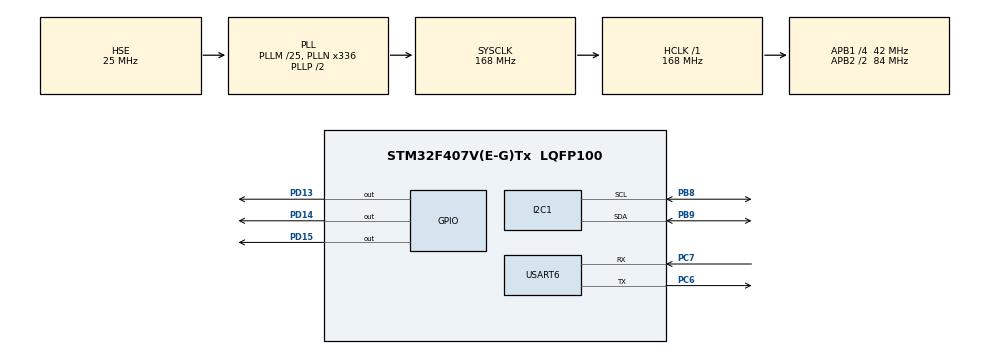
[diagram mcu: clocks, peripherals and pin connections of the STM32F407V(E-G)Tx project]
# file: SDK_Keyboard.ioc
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FREERTOS.BinarySemaphores01=myBinarySem01,Dynamic,NULL
FREERTOS.Mutexes01=myMutex01,Dynamic,NULL
FREERTOS.Queues01=myQueue01,16,uint16_t,0,Dynamic,NULL,NULL
FREERTOS.Tasks01=defaultTask,0,128,StartDefaultTask,Default,NULL,Dynamic,NULL,NULL;keyboardTask,-3,128,StartTask02,Default,NULL,Dynamic,NULL,NULL
Mcu.Family=STM32F4
Mcu.Name=STM32F407V(E-G)Tx
Mcu.Package=LQFP100
NVIC.PriorityGroup=NVIC_PRIORITYGROUP_4
PA13.Mode=JTAG_5_pins
PA13.Signal=SYS_JTMS-SWDIO
PA14.Mode=JTAG_5_pins
PA14.Signal=SYS_JTCK-SWCLK
PA15.Mode=JTAG_5_pins
PA15.Signal=SYS_JTDI
PB3.Mode=JTAG_5_pins
PB3.Signal=SYS_JTDO-SWO
PB4.Mode=JTAG_5_pins
PB4.Signal=SYS_JTRST
PB8.GPIO_Pu=GPIO_PULLUP
PB8.Mode=I2C
PB8.Signal=I2C1_SCL
PB9.GPIO_Pu=GPIO_PULLUP
PB9.Mode=I2C
PB9.Signal=I2C1_SDA
PC6.Mode=Asynchronous
PC6.Signal=USART6_TX
PC7.Mode=Asynchronous
PC7.Signal=USART6_RX
PD13.Signal=GPIO_Output
PD14.Signal=GPIO_Output
PD15.Signal=GPIO_Output
PH0-OSC_IN.Mode=HSE-External-Oscillator
PH0-OSC_IN.Signal=RCC_OSC_IN
PH1-OSC_OUT.Mode=HSE-External-Oscillator
PH1-OSC_OUT.Signal=RCC_OSC_OUT
ProjectManager.HeapSize=0x200
ProjectManager.StackSize=0x400
ProjectManager.TargetToolchain=STM32CubeIDE
RCC.48MHZClocksFreq_Value=84000000
RCC.AHBFreq_Value=168000000
RCC.APB1CLKDivider=RCC_HCLK_DIV4
RCC.APB1Freq_Value=42000000
RCC.APB1TimFreq_Value=84000000
RCC.APB2CLKDivider=RCC_HCLK_DIV2
RCC.APB2Freq_Value=84000000
RCC.APB2TimFreq_Value=168000000
RCC.CortexFreq_Value=168000000
RCC.HCLKFreq_Value=168000000
RCC.HSE_VALUE=25000000
RCC.HSI_VALUE=16000000
RCC.LSE_VALUE=32768
RCC.PLLM=25
RCC.PLLN=336
RCC.PLLSourceVirtual=RCC_PLLSOURCE_HSE
RCC.SYSCLKFreq_VALUE=168000000
RCC.SYSCLKSource=RCC_SYSCLKSOURCE_PLLCLK
RCC.VCOOutputFreq_Value=336000000
USART6.VirtualMode=VM_ASYNC
VP_FREERTOS_VS_CMSIS_V1.Mode=CMSIS_V1
board=custom

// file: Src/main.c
/* USER CODE BEGIN Header */
/**
  ******************************************************************************
  * @file           : main.c
  * @brief          : Main program body
  ******************************************************************************
  * @attention
  *
  * <h2><center>&copy; Copyright (c) 2019 STMicroelectronics.
  * All rights reserved.</center></h2>
  *
  * This software component is licensed by ST under BSD 3-Clause license,
  * the "License"; You may not use this file except in compliance with the
  * License. You may obtain a copy of the License at:
  *                        opensource.org/licenses/BSD-3-Clause
  *
  ******************************************************************************
  */
/* USER CODE END Header */
#include "main.h"
#include "cmsis_os.h"
#include "i2c.h"
#include "usart.h"
#include "gpio.h"

/* USER CODE BEGIN Includes */
#include "kb.h"
#include "sdk_uart.h"
#include "pca9538.h"
#include "oled.h"
#include "fonts.h"
#include "emb2calc.h"
#include "emb2kb.h"
//#include "emb2calc.h"
/* USER CODE END Includes */

void SystemClock_Config(void);
void MX_FREERTOS_Init(void);
/* USER CODE BEGIN PFP */
void KB_Test( void );
void OLED_KB( uint8_t OLED_Keys[]);
void oled_Reset( void );
/* USER CODE END PFP */

int main(void)
{

  /* MCU Configuration--------------------------------------------------------*/

  /* Reset of all peripherals, Initializes the Flash interface and the Systick. */
  HAL_Init();

  /* Configure the system clock */
  SystemClock_Config();

  /* Initialize all configured peripherals */
  MX_GPIO_Init();
  MX_I2C1_Init();
  MX_USART6_UART_Init();

  /* Call init function for freertos objects (in freertos.c) */
  MX_FREERTOS_Init();

  /* Start scheduler */
  osKernelStart();
  /* We should never get here as control is now taken by the scheduler */
  /* Infinite loop */
  while (1)
  {

    /* USER CODE BEGIN 3 */
	  printCalc();
	  char check = getKey();
	  keyPressed(check);
	  printCalc();
	  HAL_Delay(50);

  }
  /* USER CODE END 3 */
}

void SystemClock_Config(void)
{
  RCC_OscInitTypeDef RCC_OscInitStruct = {0};
  RCC_ClkInitTypeDef RCC_ClkInitStruct = {0};

  /** Configure the main internal regulator output voltage
  */
  __HAL_RCC_PWR_CLK_ENABLE();
  __HAL_PWR_VOLTAGESCALING_CONFIG(PWR_REGULATOR_VOLTAGE_SCALE1);

  /** Initializes the RCC Oscillators according to the specified parameters
  * in the RCC_OscInitTypeDef structure.
  */
  RCC_OscInitStruct.OscillatorType = RCC_OSCILLATORTYPE_HSE;
  RCC_OscInitStruct.HSEState = RCC_HSE_ON;
  RCC_OscInitStruct.PLL.PLLState = RCC_PLL_ON;
  RCC_OscInitStruct.PLL.PLLSource = RCC_PLLSOURCE_HSE;
  RCC_OscInitStruct.PLL.PLLM = 25;
  RCC_OscInitStruct.PLL.PLLN = 336;
  RCC_OscInitStruct.PLL.PLLP = RCC_PLLP_DIV2;
  RCC_OscInitStruct.PLL.PLLQ = 4;
  if (HAL_RCC_OscConfig(&RCC_OscInitStruct) != HAL_OK)
  {
    Error_Handler();
  }

  /** Initializes the CPU, AHB and APB buses clocks
  */
  RCC_ClkInitStruct.ClockType = RCC_CLOCKTYPE_HCLK|RCC_CLOCKTYPE_SYSCLK
                              |RCC_CLOCKTYPE_PCLK1|RCC_CLOCKTYPE_PCLK2;
  RCC_ClkInitStruct.SYSCLKSource = RCC_SYSCLKSOURCE_PLLCLK;
  RCC_ClkInitStruct.AHBCLKDivider = RCC_SYSCLK_DIV1;
  RCC_ClkInitStruct.APB1CLKDivider = RCC_HCLK_DIV4;
  RCC_ClkInitStruct.APB2CLKDivider = RCC_HCLK_DIV2;

  if (HAL_RCC_ClockConfig(&RCC_ClkInitStruct, FLASH_LATENCY_5) != HAL_OK)
  {
    Error_Handler();
  }
}

/* USER CODE BEGIN 4 */
void KB_Test( void ) {
	UART_Transmit( (uint8_t*)"KB test start\n" );
	uint8_t R = 0, C = 0, L = 0, Row[4] = {ROW4, ROW3, ROW2, ROW1}, Key, OldKey, OLED_Keys[12] = {0x30,0x30,0x30,0x30,0x30,0x30,0x30,0x30,0x30,0x30,0x30,0x30};
	oled_Reset();
	oled_WriteString("From bottom to top", Font_7x10, White);
	OLED_KB(OLED_Keys);
	oled_UpdateScreen();
	for ( int i = 0; i < 4; i++ ) {
		while( !( R && C && L ) ) {
			OldKey = Key;
			Key = Check_Row( Row[i] );
			if ( Key == 0x01 && Key != OldKey) {
				UART_Transmit( (uint8_t*)"Right pressed\n" );
				R = 1;
				OLED_Keys[2+3*i] = 0x31;
				OLED_KB(OLED_Keys);
			} else if ( Key == 0x02 && Key != OldKey) {
				UART_Transmit( (uint8_t*)"Center pressed\n" );
				C = 1;
				OLED_Keys[1+3*i] = 0x31;
				OLED_KB(OLED_Keys);
			} else if ( Key == 0x04 && Key != OldKey) {
				UART_Transmit( (uint8_t*)"Left pressed\n" );
				L = 1;
				OLED_Keys[3*i] = 0x31;
				OLED_KB(OLED_Keys);
			}
		}
		UART_Transmit( (uint8_t*)"Row complete\n" );
		R = C = L = 0;
		HAL_Delay(25);
	}
	UART_Transmit( (uint8_t*)"KB test complete\n");
}
void OLED_KB( uint8_t OLED_Keys[12]) {
	for (int i = 3; i >= 0; i--) {
		oled_SetCursor(56, 5+(4-i)*10);
		for (int j = 0; j < 3; j++) {
			oled_WriteChar(OLED_Keys[j+3*i], Font_7x10, White);
		}
	}
	oled_UpdateScreen();
}
void oled_Reset( void ) {
	oled_Fill(Black);
	oled_SetCursor(0, 0);
	oled_UpdateScreen();
}
/* USER CODE END 4 */

void Error_Handler(void)
{
}

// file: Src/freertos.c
/* USER CODE BEGIN Header */
/**
  ******************************************************************************
  * File Name          : freertos.c
  * Description        : Code for freertos applications
  ******************************************************************************
  * @attention
  *
  * Copyright (c) 2024 STMicroelectronics.
  * All rights reserved.
  *
  * This software is licensed under terms that can be found in the LICENSE file
  * in the root directory of this software component.
  * If no LICENSE file comes with this software, it is provided AS-IS.
  *
  ******************************************************************************
  */
/* USER CODE END Header */

#include "FreeRTOS.h"
#include "task.h"
#include "main.h"
#include "cmsis_os.h"

/* USER CODE BEGIN Includes */
#include "emb2kb.h"
#include "oled.h"
#include "headPix.h"
#include "matrix.h"
#include "snake.h"
/* USER CODE END Includes */

/* USER CODE BEGIN PD */
#define SNAKE_INIT_LENGTH 4
#define GAME_TICK_MS 20U
/* USER CODE END PD */

osThreadId defaultTaskHandle;
osThreadId keyboardTaskHandle;
osMessageQId myQueue01Handle;
osMutexId myMutex01Handle;
osSemaphoreId myBinarySem01Handle;

void StartDefaultTask(void const * argument);
void StartTask02(void const * argument);

void MX_FREERTOS_Init(void); /* (MISRA C 2004 rule 8.1) */

/* GetIdleTaskMemory prototype (linked to static allocation support) */
void vApplicationGetIdleTaskMemory( StaticTask_t **ppxIdleTaskTCBBuffer, StackType_t **ppxIdleTaskStackBuffer, uint32_t *pulIdleTaskStackSize );

/* USER CODE BEGIN GET_IDLE_TASK_MEMORY */
static StaticTask_t xIdleTaskTCBBuffer;
static StackType_t xIdleStack[configMINIMAL_STACK_SIZE];

void vApplicationGetIdleTaskMemory( StaticTask_t **ppxIdleTaskTCBBuffer, StackType_t **ppxIdleTaskStackBuffer, uint32_t *pulIdleTaskStackSize )
{
  *ppxIdleTaskTCBBuffer = &xIdleTaskTCBBuffer;
  *ppxIdleTaskStackBuffer = &xIdleStack[0];
  *pulIdleTaskStackSize = configMINIMAL_STACK_SIZE;
  /* place for user code */
}
/* USER CODE END GET_IDLE_TASK_MEMORY */

void MX_FREERTOS_Init(void) {
  /* Create the mutex(es) */
  /* definition and creation of myMutex01 */
  osMutexDef(myMutex01);
  myMutex01Handle = osMutexCreate(osMutex(myMutex01));

  /* Create the semaphores(s) */
  /* definition and creation of myBinarySem01 */
  osSemaphoreDef(myBinarySem01);
  myBinarySem01Handle = osSemaphoreCreate(osSemaphore(myBinarySem01), 1);

  /* Create the queue(s) */
  /* definition and creation of myQueue01 */
  osMessageQDef(myQueue01, 16, uint16_t);
  myQueue01Handle = osMessageCreate(osMessageQ(myQueue01), NULL);

  /* Create the thread(s) */
  /* definition and creation of defaultTask */
  osThreadDef(defaultTask, StartDefaultTask, osPriorityNormal, 0, 128);
  defaultTaskHandle = osThreadCreate(osThread(defaultTask), NULL);

  /* definition and creation of keyboardTask */
  osThreadDef(keyboardTask, StartTask02, osPriorityIdle, 0, 128);
  keyboardTaskHandle = osThreadCreate(osThread(keyboardTask), NULL);

}

void StartDefaultTask(void const * argument)
{
  /* USER CODE BEGIN StartDefaultTask */
    oled_Init();

    SnakeNode* snake = create_snake(GAME_WIDTH / 2, GAME_HEIGHT / 2, SNAKE_INIT_LENGTH);

    if (snake == NULL) {
        return; /* Handle failure */
    }

    Food food = generate_food(GAME_WIDTH, GAME_HEIGHT, snake);

    oled_Fill(White);
    oled_UpdateScreen();

    for (;;) {

    	matrix_clear();
    	render_snake(snake);
    	matrix_set_cell(food.x, food.y, 1U);
    	matrix_flush();

        move_snake(snake, GAME_WIDTH, GAME_HEIGHT);

        if (is_collision(snake) != 0) {
        	oled_Fill(White);
        	oled_UpdateScreen();
        	osDelay(100);
        	oled_Fill(Black);
        	oled_WriteString("GAME OVER", Font_11x18, White);
        	oled_UpdateScreen();
            break;
        }

        if ((snake->x == food.x) && (snake->y == food.y)) {
            grow_snake(&snake, food.x, food.y);
            food = generate_food(GAME_WIDTH, GAME_HEIGHT, snake);
        }

        osDelay(GAME_TICK_MS);
    }

    free_snake(snake);
  /* USER CODE END StartDefaultTask */
}

void StartTask02(void const * argument)
{
  /* USER CODE BEGIN StartTask02 */
  /* Infinite loop */
  for(;;)
  {
	  char key = getKey();

	      	if (key) {
	      		switch (key) {
	      		case '2':
	      			set_dir(UP);
	      			break;
	      		case '4':
	      			set_dir(LEFT);
	      			break;
	      		case '6':
	      			set_dir(RIGHT);
	      			break;
	      		case '8':
	      			set_dir(DOWN);
	      			break;
	      		};
	      	}
    osDelay(10);
  }
  /* USER CODE END StartTask02 */
}

/* USER CODE BEGIN Application */
void drawSquare(void){
	oled_Init();
	oled_Reset();
	for (int i = 0; i < 4; i++) {
		for (int j = 0; j < 4; j++) {
			oled_DrawPixel(i, j, White);
		}
	}
	oled_UpdateScreen();
}
/* USER CODE END Application */
